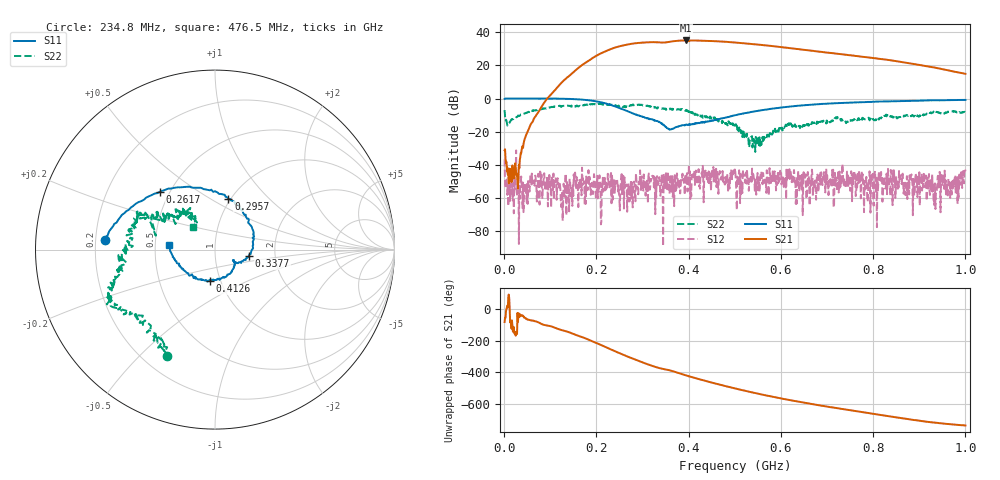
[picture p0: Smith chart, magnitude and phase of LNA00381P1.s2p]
! Created with skrf 1.9.0 (http://scikit-rf.org).
# Hz S RI R 50.0
!freq ReS11 ImS11 ReS21 ImS21 ReS12 ImS12 ReS22 ImS22
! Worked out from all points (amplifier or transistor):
!   1001 points, 1 MHz to 1 GHz, reference 50 ohm
!   highest |S21| = 34.9 dB at 394.6 MHz (marker M1)
!   |S21| within 3 dB of that: 257.4 MHz to 568.5 MHz (311.1 MHz wide, 75.3 % of centre)
!   unconditionally stable (mu >= 1): start of sweep to 67.43 MHz; 234.1 MHz to 294.5 MHz; 294.9 MHz to end of sweep (the widest 3 of 31)
!   at 166.8 MHz: K = 1.58, MAG = 29.3 dB, |S12| = -48.0 dB
!   at 500.5 MHz: K = 1.31, MAG = 34.6 dB, |S12| = -42.0 dB
!   at 1 GHz: K = 1.80, MAG = 24.1 dB, |S12| = -43.8 dB
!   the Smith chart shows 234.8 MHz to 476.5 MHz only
!   S11 on the Smith chart (normalised r, x): 234.8 MHz: 0.24, +0.04; 261.7 MHz: 0.44, +0.36; 295.7 MHz: 0.98, +0.61; 337.7 MHz: 1.46, -0.11; 412.6 MHz: 0.89, -0.32; 476.5 MHz: 0.59, +0.03
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1000000  0.9747 0.00594  0.00356 -0.0274  -0.0148 -7.33e-05  0.3304 0.304
1.08892e8  0.5088 -0.854  -0.7887 -1.524  -0.000267 0.00322  0.4296 -0.3605
1.67833e8  -0.2539 -0.8912  -9.877 -0.6521  0.000679 -0.00102  0.0541 -0.6242
2.06794e8  -0.674 -0.4143  -15.94 14.92  -0.00394 0.00289  -0.1635 -0.6633
2.34766e8  -0.6125 0.0559  -5.998 31.64  0.00142 -0.00269  -0.2682 -0.5921
2.61739e8  -0.3055 0.3231  15.96 37.19  0.00188 -0.000856  -0.42 -0.4082
2.95705e8  0.0752 0.2838  41.88 22.19  -0.00244 -0.00158  -0.5786 -0.2716
3.16684e8  0.1987 0.1349  49.05 5.052  -0.00188 0.00106  -0.5682 -0.1512
3.34666e8  0.1987 -0.0211  48.05 -9.474  0.00198 0.0018  -0.5289 -0.0733
3.37663e8  0.1898 -0.0346  47.25 -11.5  -0.0024 0.000898  -0.516 -0.0659
3.68632e8  0.1078 -0.0701  43.87 -30.56  0.000143 0.00056  -0.4472 0.1579
3.94606e8  0.0582 -0.1511  28.82 -47.81  4.25e-05 0.00285  -0.414 0.1924
4.12588e8  -0.027 -0.1755  15.16 -53.34  0.00349 0.00563  -0.2799 0.1699
4.42558e8  -0.1631 -0.1231  -7.737 -53.69  0.00224 0.002  -0.1826 0.2086
4.76524e8  -0.2577 0.0247  -28.52 -42.53  0.00125 -0.00284  -0.1206 0.1275
5.005e8  -0.2699 0.1635  -37.83 -30.59  0.00778 0.00137  -0.081 0.1123
5.4046e8  -0.178 0.3639  -42.2 -9.275  0.00438 0.0026  -0.0502 0.0334
5.88412e8  0.04 0.5088  -35.18 11.01  0.00515 -0.00186  -0.0685 -0.0693
6.67333e8  0.431 0.4937  -13.7 23.44  0.00263 -0.00675  -0.1864 -0.0503
7.53247e8  0.7097 0.2593  3.39 19.45  -0.00218 -0.00533  -0.2168 -0.00342
8.34166e8  0.8213 -0.019  10.34 9.985  -0.00229 0.00379  -0.3075 -0.0144
1e9  0.7095 -0.5659  5.378 -1.351  -0.00562 0.00321  -0.3104 0.2367
